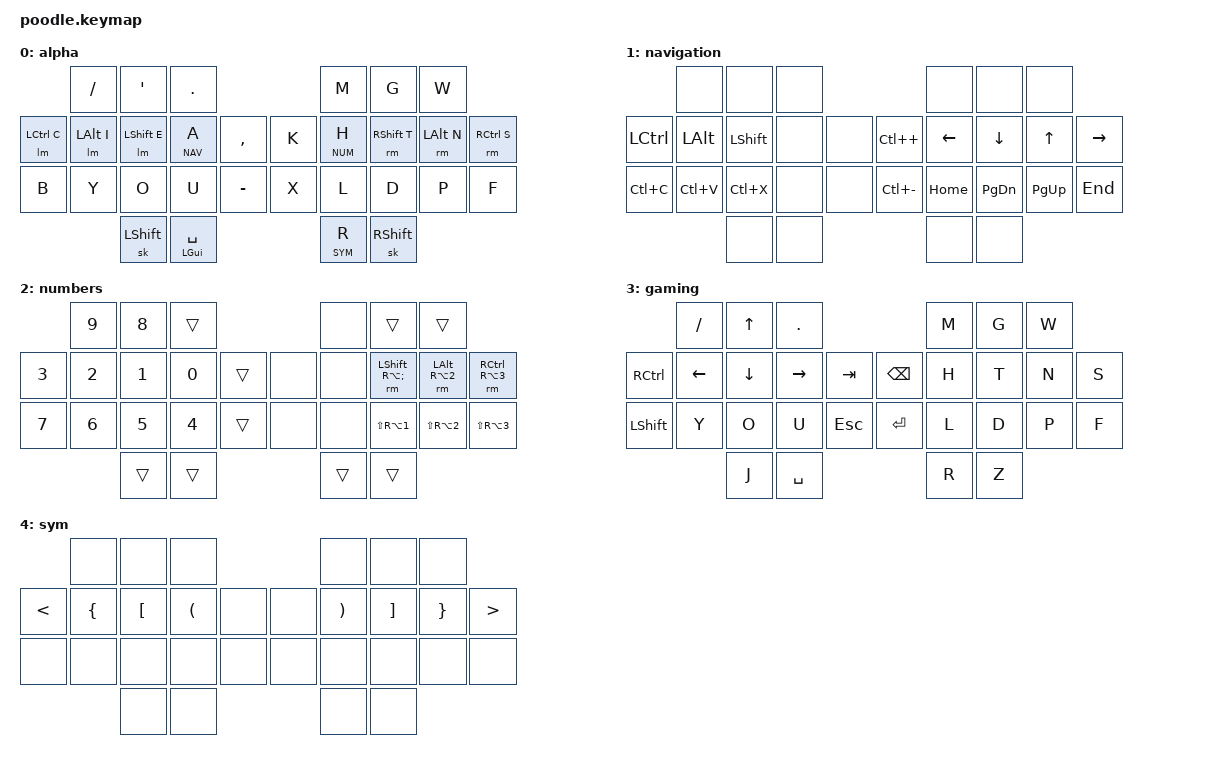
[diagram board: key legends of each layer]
#include <dt-bindings/zmk/keys.h>
#include <behaviors.dtsi>
#include <zmk-helpers/helper.h>
#include <dt-bindings/zmk/pointing.h>
#include "keylabels.h"

#define LEFT_HAND_KEYS  LT3 LT2 LT1 LM4 LM3 LM2 LM1 LM0 LB4 LB3 LB2 LB1 LB0 LH0 LH1
#define RIGHT_HAND_KEYS RT1 RT2 RT3 RM0 RM1 RM2 RM3 RM4 RB0 RB1 RB2 RB3 RB4 RH0 RH1

#define BSE 0
#define NAV 1
#define NUM 2
#define GME 3
#define SYM 4

// behavior configuration

&caps_word { // enables kebab and snake case
	continue-list = <UNDER MINUS BSPC>;
};

&lt {
	flavor = "balanced";
	tapping-term-ms = <500>;
	quick-tap-ms = <150>;
	require-prior-idle-ms = <0>;
};

&sk {
	quick-release;
};

&mt {
	flavor = "balanced";
	tapping-term-ms = <250>;
	quick-tap-ms = <150>;
	require-prior-idle-ms = <100>;
};

ZMK_HOLD_TAP(lm,
	flavor = "balanced";
	require-prior-idle-ms = <100>;
	tapping-term-ms = <280>;
	quick-tap-ms = <200>;
	hold-trigger-key-positions = <RIGHT_HAND_KEYS>;
	hold-trigger-on-release;
	bindings = <&kp>, <&kp>;
)

ZMK_HOLD_TAP(rm,
	flavor = "balanced";
	require-prior-idle-ms = <100>;
	tapping-term-ms = <280>;
	quick-tap-ms = <200>; 
	hold-trigger-key-positions = <LEFT_HAND_KEYS>;
	hold-trigger-on-release;
	bindings = <&kp>, <&kp>;
)

ZMK_BEHAVIOR(qu, macro,
    wait-ms = <5>;
    tap-ms = <5>;
    bindings = <&kp Q &kp U>;
)

//        NAME    OUTPUT           COMBOS        LAYERS TIME IDLE
// ALPHA
ZMK_COMBO(z,      &kp Z,           RT1 RT3,         BSE, 30,   0) // inc
ZMK_COMBO(v,      &kp V,           RB2 RB3,         BSE, 35,   0) // inc
ZMK_COMBO(qu,     &qu,             RT1 RT2,         BSE, 20,   0)
ZMK_COMBO(q,      &kp Q,           RM0 RT1,         BSE, 35,   0)
ZMK_COMBO(j,      &kp J,           RT2 RT3,         BSE, 30,   0)
ZMK_COMBO(enie,   &kp RA(N),       RT1 RM2,         BSE, 35,   0)
ZMK_COMBO(ced,    &kp RA(C),       RM4 RT3,         BSE, 35,   0)

// CONTROL CHARACTERS
ZMK_COMBO(tab,    &kp TAB,         RM1 RM2,         BSE, 20, 180)
ZMK_COMBO(bspc,   &kp BSPC,        RM2 RM3, BSE NAV SYM, 40,  70)
ZMK_COMBO(del,    &kp DEL,         RM3 RM4, BSE NAV SYM, 60, 100)
ZMK_COMBO(ret,    &kp RET,         LM2 LM3,     BSE SYM, 30, 100)
ZMK_COMBO(esc,    &kp ESC,         LM1 LM3,     BSE SYM, 50, 180)

// SPECIAL
ZMK_COMBO(gaming, &tog GME,        LT1 RT1,     GME BSE, 45, 350)
ZMK_COMBO(caps_w, &caps_word,      LH0 LH1,         BSE, 38, 400)
ZMK_COMBO(caps_b, &kp CAPS,        RH0 RH1,         BSE, 38, 350)

// SYMBOLS: HOME CLUSTER
ZMK_COMBO(colon,  &kp COLON,       LM1 LM4,     BSE NUM, 40, 100)
ZMK_COMBO(semi,   &kp SEMI,        RM1 RM4,         BSE, 40, 100)
ZMK_COMBO(under,  &kp UNDER,       RM1 RM3,         BSE, 45, 100)

// SYMBOLS: LEFT UPPER CLUSTER
ZMK_COMBO(equal,  &kp EQUAL,       LT3 LT1,         BSE, 35,   0)
ZMK_COMBO(dqt,    &kp DQT,         LT2 LT1,         BSE, 35,   0)
ZMK_COMBO(star,   &kp STAR,        LT2 LT3,         BSE, 30,   0)
ZMK_COMBO(at,     &kp AT,          LM0 LT1,         BSE, 30,   0)
ZMK_COMBO(dllr,   &kp DLLR,        RB3 RB1,         BSE, 30,   0)
ZMK_COMBO(plus,   &kp PLUS,        LM0 LB0,         BSE, 50,   0)
ZMK_COMBO(bslh,   &kp BSLH,        LT3 LM2,         BSE, 50,   0)
ZMK_COMBO(hash,   &kp HASH,        LB3 LB1,         BSE, 50,   0)
ZMK_COMBO(tilde,  &kp TILDE,       RM0 RB0,         BSE, 50,   0)
ZMK_COMBO(apms,   &kp AMPS,        RB1 RB4,         BSE, 50,   0)
ZMK_COMBO(pipe,   &kp PIPE,        LB1 LB4,         BSE, 50,   0)
ZMK_COMBO(caret,  &kp CARET,       RB4 RB3,         BSE, 50,   0)
ZMK_COMBO(perce,  &kp PERCENT,     LB4 LB3,         BSE, 50,   0)

ZMK_COMBO(quest,  &kp QMARK,       RM3 RT3,         BSE, 50,   0)
ZMK_COMBO(excl,   &kp EXCL,        RM2 RT2,         BSE, 50,   0)

// DIACRITS
ZMK_COMBO(a_acc,  &kp RA(X),       LM1 LT1,         BSE, 45,   0)
ZMK_COMBO(e_acc,  &kp RA(G),       LM2 LT2,         BSE, 45,   0)
ZMK_COMBO(i_acc,  &kp RA(B),       LM3 LT3,         BSE, 45,   0)
ZMK_COMBO(o_acc,  &kp RA(DOT),     LM2 LB2,         BSE, 45,   0)
ZMK_COMBO(u_acc,  &kp RA(J),       LM1 LB1,         BSE, 45,   0)

ZMK_COMBO(grave,  &kp RA(GRAVE),   RM1 RT1,         BSE, 45,   0)
ZMK_COMBO(circum, &kp RA(N6),      RM2 RT2,         BSE, 45,   0)
ZMK_COMBO(umlaut, &kp RA(RS(SQT)), RM3 RT3,         BSE, 45,   0)
 
ZMK_LAYER(alpha,
				&kp FSLH		&kp SQT			&kp	DOT											&kp M			&kp G			&kp W
&lm LCTRL C		&lm LALT I		&lm LSHFT E		&lt NAV A		&kp COMMA		&kp K			&lt NUM H		&rm RSHFT T		&rm LALT N		&rm RCTRL S
&kp B			&kp Y			&kp O			&kp U			&kp MINUS		&kp X			&kp L			&kp D			&kp P			&kp F
								&sk LSHFT		&mt LGUI SPACE									&lt SYM R		&sk RSHFT
)

ZMK_LAYER(navigation,
				&none			&none			&none											&none			&none			&none
&kp LCTRL		&kp LALT		&kp LSHFT		&none			&none			&kp LC(PLUS)	&kp LEFT		&kp DOWN		&kp UP			&kp RIGHT
&kp LC(C)		&kp LC(V)		&kp LC(X)		&none			&none			&kp LC(MINUS)	&kp HOME		&kp PG_DN		&kp PG_UP		&kp END
								&none			&none											&none			&none
)

ZMK_LAYER(numbers,
				&kp N9			&kp N8			&trans									&none		&trans				&trans
&kp N3			&kp N2			&kp N1			&kp N0			&trans		&none		&none		&rm LSHFT RA(SEMI)	&rm LALT RA(N2)		&rm RCTRL RA(N3)
&kp N7			&kp N6			&kp N5			&kp N4			&trans		&none		&none		&kp LS(RA(N1))		&kp LS(RA(N2))		&kp LS(RA(N3))
								&trans			&trans									&trans		&trans
)

ZMK_LAYER(gaming, 
				&kp FSLH		&kp UP			&kp DOT											&kp M			&kp G			&kp W
&kp RCTRL		&kp LEFT		&kp DOWN		&kp RIGHT		&kp TAB			&kp BSPC		&kp H			&kp T			&kp N			&kp S
&kp LSHFT		&kp Y			&kp O			&kp U			&kp ESC			&kp RET			&kp L			&kp D			&kp P			&kp F
								&kp J			&kp SPACE 										&kp R			&kp Z
)

ZMK_LAYER(sym,
				&none			&none			&none											&none			&none       &none
&kp LT			&kp LBRC		&kp LBKT		&kp LPAR		&none			&none			&kp RPAR		&kp RBKT	&kp RBRC		&kp GT
&none			&none			&none   		&none			&none			&none			&none			&none		&none			&none
								&none			&none											&none			&none
)
